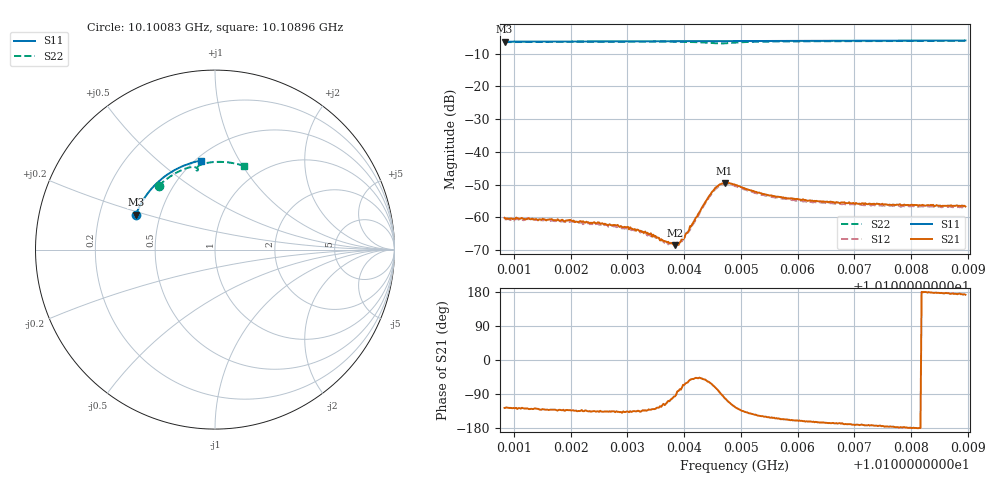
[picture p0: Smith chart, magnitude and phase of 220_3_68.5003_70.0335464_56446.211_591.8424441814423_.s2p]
#  HZ  S  RI  R  50.00
! Rohde & Schwarz Vector Network Analyzer
! Rohde-Schwarz,ZNB20-2Port,1311601062101988,3.16
! Created: UTC 3/20/2024, 4:58:24 PM
! freq[Hz]  re:S11  im:S11  re:S21  im:S21  re:S12  im:S12  re:S22  im:S22
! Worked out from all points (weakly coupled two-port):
!   401 points, 10.10083 GHz to 10.10896 GHz, reference 50 ohm
!   highest |S21| = -49.44 dB at 10.10471 GHz (marker M1); lowest = -68.4 dB at 10.10384 GHz (marker M2)
!   lowest |S11| = -6.4 dB at 10.10083 GHz (marker M3), VSWR 2.86, Z = 18.2 + j9.19 ohm
!   |S11| at or under -10 dB: nowhere
!   |S22| runs from -6.9 to -6.1 dB; largest |S21 - S12| = 0.00034
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1.0100832e10  -0.4405 0.1941  -0.000587 -0.000792  -0.000485 -0.000803  -0.3134 0.3554
1.0101259e10  -0.4307 0.2181  -0.000621 -0.000753  -0.000535 -0.000759  -0.293 0.3741
1.0102194e10  -0.4045 0.2688  -0.000575 -0.000633  -0.000528 -0.000649  -0.2444 0.4106
1.0103007e10  -0.3773 0.3099  -0.000517 -0.000498  -0.000438 -0.000511  -0.1976 0.4372
1.010321e10  -0.3697 0.3197  -0.00044 -0.000434  -0.000397 -0.000457  -0.1852 0.4431
1.0103373e10  -0.3637 0.3273  -0.000357 -0.000418  -0.00032 -0.000435  -0.175 0.4474
1.0103555e10  -0.3565 0.3358  -0.000281 -0.000397  -0.000246 -0.000421  -0.1629 0.4519
1.0103677e10  -0.3516 0.3415  -0.000186 -0.000387  -0.000117 -0.000372  -0.1547 0.4545
1.010384e10  -0.345 0.3488  -3.82e-05 -0.000377  1.36e-05 -0.000384  -0.1431 0.4576
1.0103881e10  -0.3433 0.3506  5.29e-05 -0.000396  6.44e-05 -0.000409  -0.1401 0.4583
1.0103942e10  -0.3409 0.3532  8.95e-05 -0.000423  0.00015 -0.000395  -0.1354 0.4591
1.0104023e10  -0.3373 0.3568  0.00026 -0.000487  0.000298 -0.000424  -0.1292 0.4601
1.0104124e10  -0.3331 0.3613  0.000461 -0.000566  0.000518 -0.000538  -0.121 0.4605
1.0104368e10  -0.3223 0.3715  0.00105 -0.00132  0.00111 -0.00119  -0.1012 0.4552
1.0104511e10  -0.3161 0.3773  0.000981 -0.00235  0.00117 -0.00216  -0.095 0.446
1.0104612e10  -0.3117 0.3814  0.000377 -0.0031  0.000631 -0.00292  -0.0972 0.4406
1.0104714e10  -0.3071 0.3856  -0.000619 -0.00331  -0.000306 -0.00321  -0.1023 0.4417
1.0104897e10  -0.2987 0.3927  -0.00177 -0.00261  -0.00144 -0.00263  -0.1025 0.4543
1.0105466e10  -0.2715 0.4138  -0.00193 -0.00107  -0.00176 -0.00121  -0.0657 0.4781
1.0106258e10  -0.2311 0.4399  -0.00173 -0.000513  -0.00157 -0.000657  -0.0118 0.4874
1.010762e10  -0.1564 0.4746  -0.00156 -0.00011  -0.00149 -0.000246  0.0769 0.4855
1.0108961e10  -0.0783 0.4959  -0.00145 0.000194  -0.00143 -1.38e-06  0.1609 0.4672
